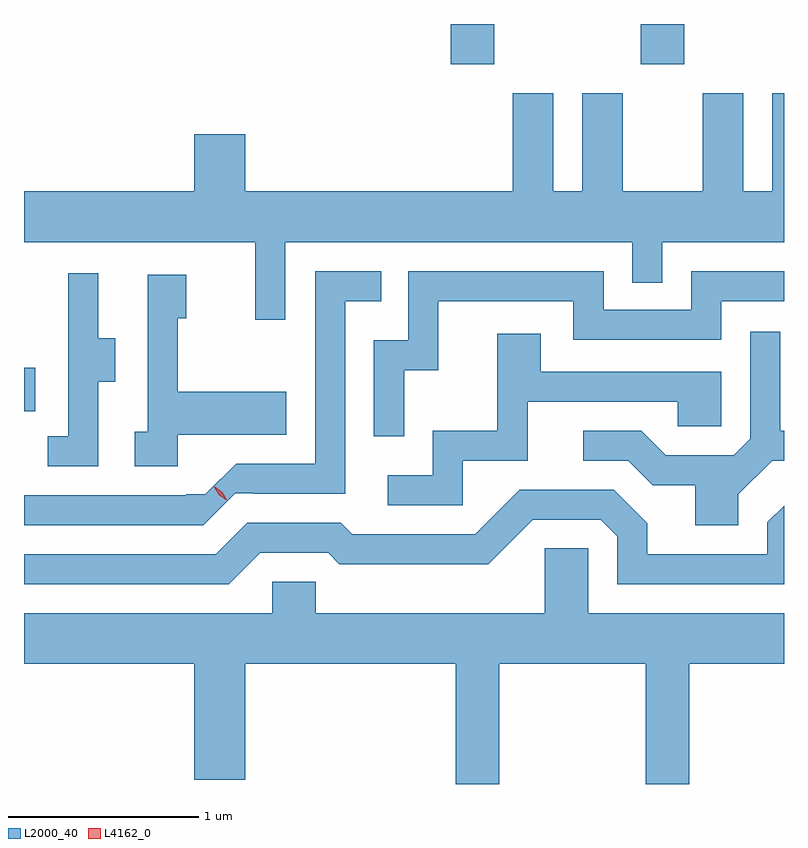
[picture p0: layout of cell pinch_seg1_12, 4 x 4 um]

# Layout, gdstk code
import gdstk
lib = gdstk.Library(unit=1e-6, precision=1e-09)
def R(c, l, rs):  # rectangles x0, y0, x1, y1
    for r in rs: c.add(gdstk.rectangle(r[:2], r[2:], *l))
def P(c, l, *ps):  # polygons
    for p in ps: c.add(gdstk.Polygon(p, *l))
L2000_40 = (2000, 40)
L4162_0 = (4162, 0)

pinch_seg1_12 = lib.new_cell('pinch_seg1_12')
R(pinch_seg1_12, L2000_40, [(1812.579,876.486,1812.639,876.714), (1814.826,878.311,1815.054,878.524), (1815.826,878.311,1816.054,878.524)])
P(pinch_seg1_12, L2000_40, [(1813.954,877.376),(1815.781,877.376),(1815.781,877.163),(1815.939,877.163),(1815.939,877.376),(1816.579,877.376),(1816.579,878.159),(1816.516,878.159),(1816.516,877.644),(1816.364,877.644),(1816.364,878.159),(1816.151,878.159),(1816.151,877.644),(1815.729,877.644),(1815.729,878.159),(1815.516,878.159),(1815.516,877.644),(1815.364,877.644),(1815.364,878.159),(1815.151,878.159),(1815.151,877.644),(1813.744,877.644),(1813.744,877.944),(1813.476,877.944),(1813.476,877.644),(1812.579,877.644),(1812.579,877.376),(1813.796,877.376),(1813.796,876.968),(1813.954,876.968)],
  [(1814.579,876.701),(1814.759,876.701),(1814.759,877.066),(1815.471,877.066),(1815.471,876.861),(1816.249,876.861),(1816.249,877.066),(1816.579,877.066),(1816.579,877.224),(1816.091,877.224),(1816.091,877.019),(1815.629,877.019),(1815.629,877.224),(1814.601,877.224),(1814.601,876.859),(1814.421,876.859),(1814.421,876.353),(1814.579,876.353)],
  [(1813.691,876.055),(1813.785,876.055),(1813.785,876.051),(1814.269,876.051),(1814.269,877.066),(1814.458,877.066),(1814.458,877.224),(1814.111,877.224),(1814.111,876.209),(1813.696,876.209),(1813.534,876.048),(1813.432,876.048),(1813.432,876.044),(1812.579,876.044),(1812.579,875.886),(1813.522,875.886)],
  [(1812.969,876.641),(1813.059,876.641),(1813.059,876.869),(1812.969,876.869),(1812.969,877.213),(1812.811,877.213),(1812.811,876.354),(1812.703,876.354),(1812.703,876.196),(1812.969,876.196)],
  [(1813.389,876.361),(1813.959,876.361),(1813.959,876.589),(1813.389,876.589),(1813.389,876.976),(1813.434,876.976),(1813.434,877.204),(1813.231,877.204),(1813.231,876.379),(1813.161,876.379),(1813.161,876.196),(1813.389,876.196)],
  [(1816.339,876.049),(1816.517,876.226),(1816.579,876.226),(1816.579,876.384),(1816.559,876.384),(1816.559,876.903),(1816.401,876.903),(1816.401,876.342),(1816.314,876.254),(1815.957,876.254),(1815.827,876.384),(1815.523,876.384),(1815.523,876.226),(1815.759,876.226),(1815.889,876.096),(1816.111,876.096),(1816.111,875.886),(1816.339,875.886)],
  [(1814.889,876.226),(1815.229,876.226),(1815.229,876.536),(1816.021,876.536),(1816.021,876.406),(1816.249,876.406),(1816.249,876.694),(1815.299,876.694),(1815.299,876.894),(1815.071,876.894),(1815.071,876.384),(1814.731,876.384),(1814.731,876.149),(1814.493,876.149),(1814.493,875.991),(1814.889,875.991)],
  [(1813.822,875.741),(1814.179,875.741),(1814.239,875.681),(1815.022,875.681),(1815.257,875.916),(1815.614,875.916),(1815.701,875.829),(1815.701,875.576),(1816.579,875.576),(1816.579,875.989),(1816.491,875.902),(1816.491,875.734),(1815.859,875.734),(1815.859,875.897),(1815.682,876.074),(1815.189,876.074),(1814.954,875.839),(1814.307,875.839),(1814.247,875.899),(1813.754,875.899),(1813.589,875.734),(1812.579,875.734),(1812.579,875.576),(1813.657,875.576)],
  [(1815.079,875.156),(1815.851,875.156),(1815.851,874.524),(1816.079,874.524),(1816.079,875.156),(1816.579,875.156),(1816.579,875.424),(1815.549,875.424),(1815.549,875.764),(1815.321,875.764),(1815.321,875.424),(1814.114,875.424),(1814.114,875.589),(1813.886,875.589),(1813.886,875.424),(1812.579,875.424),(1812.579,875.156),(1813.476,875.156),(1813.476,874.546),(1813.744,874.546),(1813.744,875.156),(1814.851,875.156),(1814.851,874.524),(1815.079,874.524)])
P(pinch_seg1_12, L4162_0, [(1813.649,876.014),(1813.607,876.046),(1813.579,876.091),(1813.579,876.091),(1813.58,876.091),(1813.622,876.06),(1813.65,876.015),(1813.65,876.014)],
  [(1813.645,876.017),(1813.606,876.045),(1813.581,876.086),(1813.581,876.087),(1813.582,876.087),(1813.621,876.058),(1813.645,876.017),(1813.645,876.017)])

lib.write_gds('pinch_seg1_12.gds')
